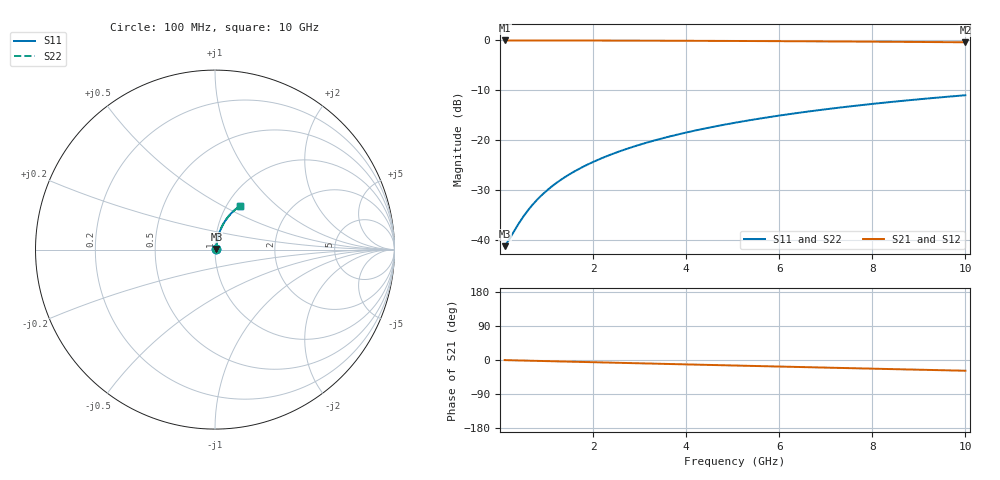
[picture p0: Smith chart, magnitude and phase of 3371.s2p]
# Hz S RI R 50.00
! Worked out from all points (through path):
!   100 points, 100 MHz to 10 GHz, reference 50 ohm
!   highest |S21| = -0.07 dB at 100 MHz (marker M1); lowest = -0.4 dB at 10 GHz (marker M2)
!   group delay of S21, straight-line fit = 7.88 ps
!   lowest |S11| = -41.2 dB at 100 MHz (marker M3), VSWR 1.02, Z = 50.8 + j0.302 ohm
!   |S11| at or under -10 dB: start of sweep to end of sweep
!   |S22| runs from -41.2 to -11.0 dB; largest |S21 - S12| = 0
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1e8  0.00823 0.00297  0.9918 -0.00503  0.9918 -0.00503  0.00823 0.00297
2e8  0.00833 0.00594  0.9917 -0.0101  0.9917 -0.0101  0.00833 0.00594
4e8  0.00858 0.0119  0.9914 -0.0201  0.9914 -0.0201  0.00858 0.0119
5e8  0.00875 0.0148  0.9912 -0.0251  0.9912 -0.0251  0.00875 0.0148
6e8  0.00894 0.0178  0.991 -0.0302  0.991 -0.0302  0.00894 0.0178
7e8  0.00915 0.0208  0.9907 -0.0352  0.9907 -0.0352  0.00915 0.0208
8e8  0.0094 0.0237  0.9904 -0.0402  0.9904 -0.0402  0.0094 0.0237
1e9  0.00998 0.0296  0.9898 -0.0502  0.9898 -0.0502  0.00998 0.0296
1.2e9  0.0107 0.0355  0.989 -0.0603  0.989 -0.0603  0.0107 0.0355
1.5e9  0.0119 0.0443  0.9876 -0.0752  0.9876 -0.0752  0.0119 0.0443
1.8e9  0.0134 0.053  0.9858 -0.0902  0.9858 -0.0902  0.0134 0.053
2.1e9  0.0152 0.0617  0.9838 -0.1051  0.9838 -0.1051  0.0152 0.0617
2.5e9  0.018 0.0732  0.9806 -0.1248  0.9806 -0.1248  0.018 0.0732
2.9e9  0.0212 0.0846  0.9769 -0.1444  0.9769 -0.1444  0.0212 0.0846
3.4e9  0.0259 0.0985  0.9716 -0.1687  0.9716 -0.1687  0.0259 0.0985
4.2e9  0.0347 0.1202  0.9614 -0.207  0.9614 -0.207  0.0347 0.1202
5.1e9  0.0466 0.1435  0.9477 -0.2489  0.9477 -0.2489  0.0466 0.1435
5.9e9  0.0589 0.1632  0.9335 -0.2852  0.9335 -0.2852  0.0589 0.1632
6.7e9  0.0725 0.1817  0.9177 -0.3203  0.9177 -0.3203  0.0725 0.1817
7.5e9  0.0874 0.1989  0.9003 -0.3541  0.9003 -0.3541  0.0874 0.1989
8.4e9  0.1056 0.2166  0.879 -0.3906  0.879 -0.3906  0.1056 0.2166
1e10  0.1408 0.2436  0.8372 -0.4511  0.8372 -0.4511  0.1408 0.2436
